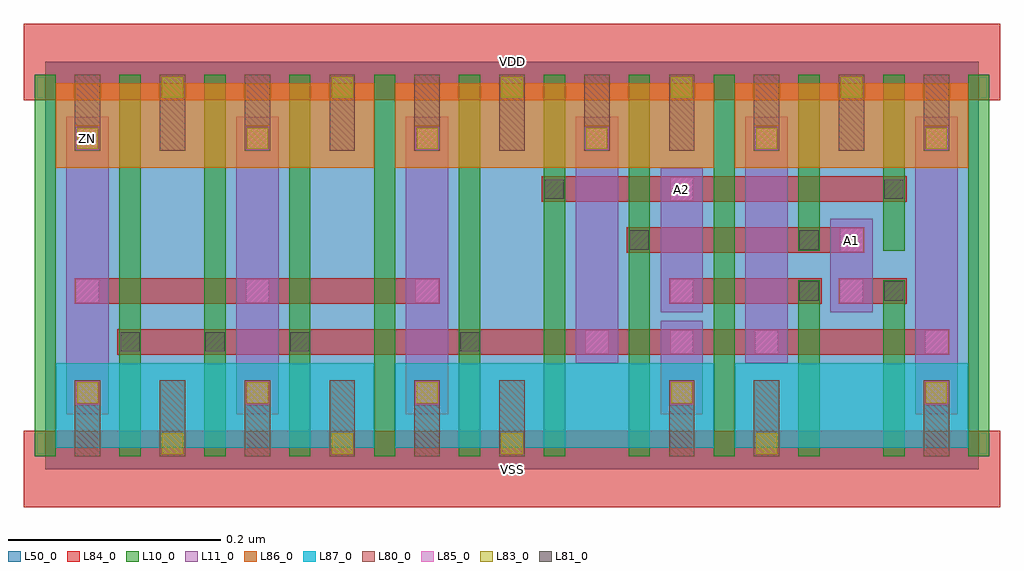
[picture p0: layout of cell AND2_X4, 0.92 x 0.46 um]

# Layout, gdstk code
import gdstk
lib = gdstk.Library(unit=1e-6, precision=1e-09)
def R(c, l, rs):  # rectangles x0, y0, x1, y1
    for r in rs: c.add(gdstk.rectangle(r[:2], r[2:], *l))
def A(c, l, x, y, w, h, nx, ny, dx, dy):  # array of equal rectangles
    R(c, l, [(x+i*dx, y+j*dy, x+i*dx+w, y+j*dy+h) for i in range(nx) for j in range(ny)])
L10_0 = (10, 0)
L11_0 = (11, 0)
L50_0 = (50, 0)
L80_0 = (80, 0)
L81_0 = (81, 0)
L83_0 = (83, 0)
L84_0 = (84, 0)
L85_0 = (85, 0)
L86_0 = (86, 0)
L87_0 = (87, 0)

and2_x4 = lib.new_cell('AND2_X4')
A(and2_x4, L10_0, -0.01, 0.012, 0.02, 0.36, 9, 1, 0.08, 0)
R(and2_x4, L10_0, [(0.71,0.012,0.73,0.178), (0.79,0.012,0.81,0.178), (0.87,0.012,0.89,0.372), (0.71,0.206,0.73,0.372), (0.79,0.206,0.81,0.372)])
A(and2_x4, L11_0, 0.02, 0.052, 0.04, 0.28, 3, 1, 0.16, 0)
R(and2_x4, L11_0, [(0.58,0.052,0.62,0.14), (0.82,0.052,0.86,0.332), (0.5,0.1,0.54,0.332), (0.66,0.1,0.7,0.332), (0.58,0.148,0.62,0.284), (0.74,0.148,0.78,0.236)])
R(and2_x4, L50_0, [(0,0,0.88,0.384)])
A(and2_x4, L80_0, 0.028, 0.012, 0.024, 0.072, 6, 1, 0.08, 0)
A(and2_x4, L80_0, 0.028, 0.3, 0.024, 0.072, 11, 1, 0.08, 0)
R(and2_x4, L80_0, [(0.588,0.012,0.612,0.084), (0.668,0.012,0.692,0.084), (0.828,0.012,0.852,0.084)])
A(and2_x4, L81_0, 0.071, 0.111, 0.018, 0.018, 3, 1, 0.08, 0)
R(and2_x4, L81_0, [(0.391,0.111,0.409,0.129), (0.711,0.159,0.729,0.177), (0.791,0.159,0.809,0.177), (0.551,0.207,0.569,0.225), (0.711,0.207,0.729,0.225), (0.471,0.255,0.489,0.273), (0.791,0.255,0.809,0.273)])
A(and2_x4, L83_0, 0.11, 0.014, 0.02, 0.02, 3, 1, 0.16, 0)
A(and2_x4, L83_0, 0.03, 0.062, 0.02, 0.02, 3, 1, 0.16, 0)
A(and2_x4, L83_0, 0.03, 0.302, 0.02, 0.02, 6, 1, 0.16, 0)
A(and2_x4, L83_0, 0.11, 0.35, 0.02, 0.02, 5, 1, 0.16, 0)
R(and2_x4, L83_0, [(0.67,0.014,0.69,0.034), (0.59,0.062,0.61,0.082), (0.83,0.062,0.85,0.082)])
A(and2_x4, L84_0, 0.028, 0.06, 0.024, 0.024, 3, 1, 0.16, 0)
A(and2_x4, L84_0, 0.028, 0.3, 0.024, 0.024, 6, 1, 0.16, 0)
R(and2_x4, L84_0, [(-0.02,-0.036,0.9,0.036), (0.588,0.06,0.612,0.084), (0.828,0.06,0.852,0.084), (0.068,0.108,0.852,0.132), (0.028,0.156,0.372,0.18), (0.588,0.156,0.732,0.18), (0.748,0.156,0.812,0.18), (0.548,0.204,0.772,0.228), (0.468,0.252,0.812,0.276), (-0.02,0.348,0.9,0.42)])
A(and2_x4, L85_0, 0.029, 0.061, 0.022, 0.022, 3, 2, 0.16, 0.096)
A(and2_x4, L85_0, 0.589, 0.061, 0.022, 0.022, 1, 3, 0, 0.096)
A(and2_x4, L85_0, 0.509, 0.109, 0.022, 0.022, 3, 1, 0.08, 0)
A(and2_x4, L85_0, 0.029, 0.301, 0.022, 0.022, 6, 1, 0.16, 0)
R(and2_x4, L85_0, [(0.829,0.061,0.851,0.083), (0.829,0.109,0.851,0.131), (0.749,0.157,0.771,0.179), (0.749,0.205,0.771,0.227)])
R(and2_x4, L86_0, [(0.01,0.284,0.31,0.364), (0.33,0.284,0.63,0.364), (0.65,0.284,0.87,0.364)])
R(and2_x4, L87_0, [(0.01,0.02,0.31,0.1), (0.33,0.02,0.63,0.1), (0.65,0.02,0.87,0.1)])
and2_x4.add(gdstk.Label('VDD', (0.44,0.384), layer=88, texttype=0))
and2_x4.add(gdstk.Label('VSS', (0.44,0), layer=88, texttype=0))
and2_x4.add(gdstk.Label('ZN', (0.04,0.312), layer=31, texttype=0))
and2_x4.add(gdstk.Label('A1', (0.76,0.216), layer=31, texttype=0))
and2_x4.add(gdstk.Label('A2', (0.6,0.264), layer=31, texttype=0))

lib.write_gds('AND2_X4.gds')
